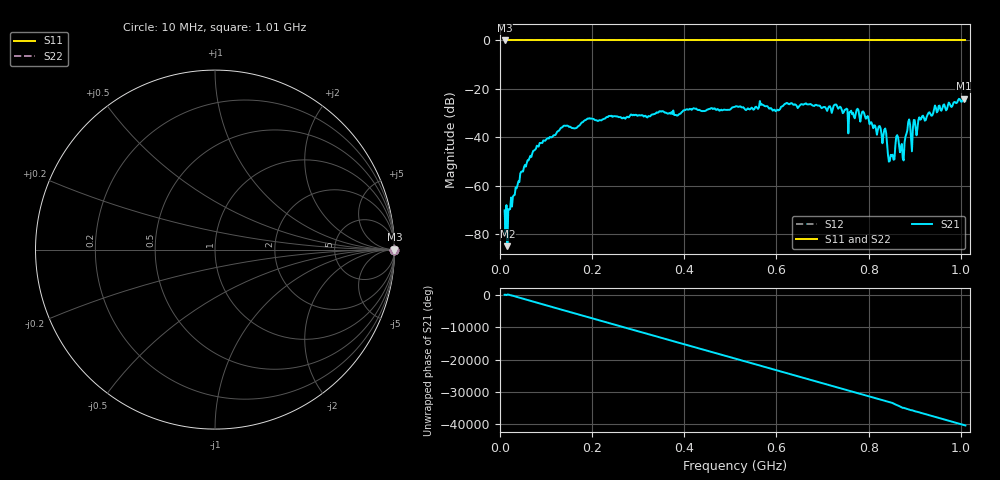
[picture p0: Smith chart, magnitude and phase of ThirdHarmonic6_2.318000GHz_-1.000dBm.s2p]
! 8/17/2025 3:16:11 AM
! C:\ANRITSUVNA\TEMP\TEMP.S2P
! CHANNEL.1
! TR.MEASUREMENT
! RAW.DATA
! RF.CORRECTION.OFF
! AVERAGING.OFF
! IF.BANDWIDTH: 5KHZ
! SWEEPTYPE:  FREQ.SWEEP(Linear)
! Reference Plane Port Info
! PORT:  PORT1  PORT2
! DISTANCE:  0  m  0  m
! TIME:  0  s  0  s
! PHASE.OFFSET:  0  deg.  0  deg.
! LOSS:  0  dB  0  dB
! REF.LOSS:  0  dB  0  dB
! REF.FREQ:  0  Hz  0  Hz
! Power Info
! POWER:  -20  dBm  -20  dBm
! EFF.POWER:  -20  dBm  -20  dBm
! SOURCE.ATTEN:  0  dB  0  dB
! TEST.ATTEN:  0  dB  0  dB
# GHZ S RI R 50.0
! FREQ.GHZ  S11RE  S11IM  S21RE  S21IM  S12RE  S12IM  S22RE  S22IM
!; PortSelection: Port_12
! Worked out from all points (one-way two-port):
!   501 points, 10 MHz to 1.01 GHz, reference 50 ohm
!   highest |S21| = -24.01 dB at 1.006 GHz (marker M1); lowest = -85.0 dB at 16 MHz (marker M2)
!   lowest |S11| = 0.0 dB at 10 MHz (marker M3)
!   |S11| at or under -10 dB: nowhere
!   |S22| runs from 0.0 to 0.0 dB; largest |S21 - S12| = 1.1
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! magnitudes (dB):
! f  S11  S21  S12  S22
! 10 MHz  0.0  -70.2  0.0  0.0
! 16 MHz  0.0  -85.0  0.0  0.0
! 48 MHz  0.0  -54.1  0.0  0.0
! 76 MHz  0.0  -45.2  0.0  0.0
! 136 MHz  0.0  -35.7  0.0  0.0
! 178 MHz  0.0  -33.8  0.0  0.0
! 344 MHz  0.0  -29.7  0.0  0.0
! 510 MHz  0.0  -27.4  0.0  0.0
! 678 MHz  0.0  -26.8  0.0  0.0
! 760 MHz  0.0  -29.4  0.0  0.0
! 788 MHz  0.0  -29.3  0.0  0.0
! 836 MHz  0.0  -36.4  0.0  0.0
! 844 MHz  0.0  -50.1  0.0  0.0
! 852 MHz  0.0  -47.2  0.0  0.0
! 862 MHz  0.0  -39.1  0.0  0.0
! 872 MHz  0.0  -42.7  0.0  0.0
! 878 MHz  0.0  -42.1  0.0  0.0
! 886 MHz  0.0  -33.6  0.0  0.0
! 894 MHz  0.0  -45.8  0.0  0.0
! 914 MHz  0.0  -32.5  0.0  0.0
! 1.006 GHz  0.0  -24.0  0.0  0.0
! 1.01 GHz  0.0  -24.9  0.0  0.0
